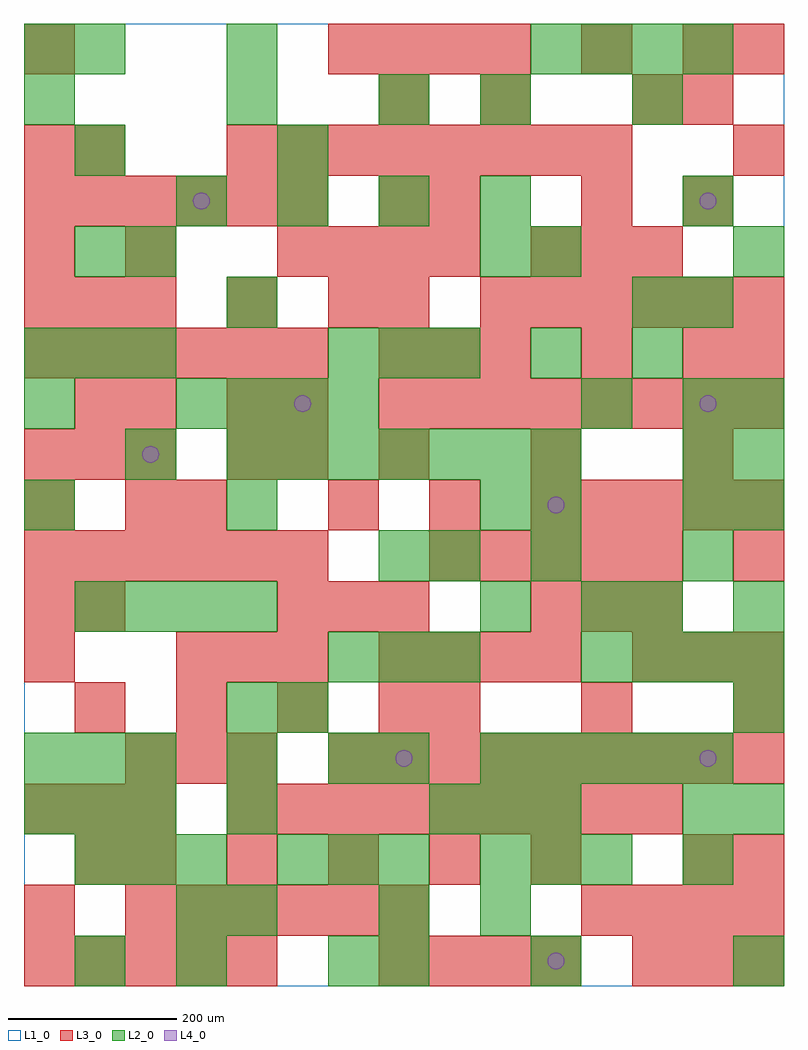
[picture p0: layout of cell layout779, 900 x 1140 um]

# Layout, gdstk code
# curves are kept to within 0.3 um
import gdstk
lib = gdstk.Library(unit=1e-6, precision=1e-09)
def R(c, l, rs):  # rectangles x0, y0, x1, y1
    for r in rs: c.add(gdstk.rectangle(r[:2], r[2:], *l))
def A(c, l, x, y, w, h, nx, ny, dx, dy):  # array of equal rectangles
    R(c, l, [(x+i*dx, y+j*dy, x+i*dx+w, y+j*dy+h) for i in range(nx) for j in range(ny)])
def P(c, l, *ps):  # polygons
    for p in ps: c.add(gdstk.Polygon(p, *l))
L1_0 = (1, 0)
L2_0 = (2, 0)
L3_0 = (3, 0)
L4_0 = (4, 0)

layout779 = lib.new_cell('layout779')
R(layout779, L1_0, [(0,0,900,1140)])
A(layout779, L2_0, 60, 120, 60, 60, 3, 1, 60, 0)
A(layout779, L2_0, 300, 120, 60, 60, 3, 1, 60, 0)
A(layout779, L2_0, 540, 120, 60, 60, 3, 1, 60, 0)
A(layout779, L2_0, 0, 180, 60, 60, 3, 2, 60, 60)
A(layout779, L2_0, 240, 180, 60, 60, 1, 3, 0, 60)
A(layout779, L2_0, 480, 180, 60, 60, 3, 1, 60, 0)
A(layout779, L2_0, 840, 180, 60, 60, 1, 4, 0, 120)
A(layout779, L2_0, 540, 240, 60, 60, 5, 1, 60, 0)
A(layout779, L2_0, 360, 360, 60, 60, 3, 2, 60, 360)
A(layout779, L2_0, 660, 360, 60, 60, 4, 1, 60, 0)
A(layout779, L2_0, 60, 420, 60, 60, 4, 1, 60, 0)
A(layout779, L2_0, 780, 480, 60, 60, 1, 4, 0, 60)
A(layout779, L2_0, 240, 540, 60, 60, 1, 3, 0, 240)
A(layout779, L2_0, 240, 600, 60, 60, 7, 1, 60, 0)
A(layout779, L2_0, 180, 660, 60, 60, 4, 1, 60, 0)
A(layout779, L2_0, 0, 720, 60, 60, 3, 1, 60, 0)
A(layout779, L2_0, 60, 840, 60, 60, 1, 3, 0, 120)
A(layout779, L2_0, 180, 900, 60, 60, 4, 1, 120, 0)
A(layout779, L2_0, 600, 1080, 60, 60, 4, 1, 60, 0)
R(layout779, L2_0, [(60,0,120,60), (180,0,240,60), (360,0,420,60), (420,0,480,60), (600,0,660,60), (840,0,900,60), (180,60,240,120), (240,60,300,120), (420,60,480,120), (540,60,600,120), (780,120,840,180), (780,180,840,240), (360,240,420,300), (420,240,480,300), (300,300,360,360), (540,420,600,480), (660,420,720,480), (720,420,780,480), (420,480,480,540), (480,480,540,540), (600,480,660,540), (0,540,60,600), (540,540,600,600), (600,540,660,600), (120,600,180,660), (840,600,900,660), (0,660,60,720), (660,660,720,720), (840,660,900,720), (600,720,660,780), (720,720,780,780), (720,780,780,840), (780,780,840,840), (120,840,180,900), (540,840,600,900), (600,840,660,900), (840,840,900,900), (780,900,840,960), (300,960,360,1020), (0,1020,60,1080), (420,1020,480,1080), (540,1020,600,1080), (720,1020,780,1080), (0,1080,60,1140), (240,1080,300,1140)])
A(layout779, L3_0, 0, 0, 60, 60, 5, 1, 60, 0)
A(layout779, L3_0, 420, 0, 60, 60, 4, 2, 60, 360)
A(layout779, L3_0, 720, 0, 60, 60, 3, 2, 60, 360)
A(layout779, L3_0, 120, 60, 60, 60, 6, 1, 60, 0)
A(layout779, L3_0, 660, 60, 60, 60, 4, 2, 60, 480)
A(layout779, L3_0, 120, 120, 60, 60, 5, 1, 120, 0)
A(layout779, L3_0, 0, 180, 60, 60, 3, 2, 60, 420)
A(layout779, L3_0, 240, 180, 60, 60, 9, 1, 60, 0)
A(layout779, L3_0, 120, 240, 60, 60, 3, 1, 60, 0)
A(layout779, L3_0, 360, 240, 60, 60, 9, 1, 60, 0)
A(layout779, L3_0, 60, 300, 60, 60, 4, 1, 120, 0)
A(layout779, L3_0, 480, 300, 60, 60, 3, 1, 180, 0)
A(layout779, L3_0, 180, 360, 60, 60, 3, 1, 60, 0)
A(layout779, L3_0, 300, 420, 60, 60, 3, 1, 60, 0)
A(layout779, L3_0, 600, 420, 60, 60, 3, 2, 60, 420)
A(layout779, L3_0, 0, 480, 60, 60, 6, 2, 60, 240)
A(layout779, L3_0, 480, 480, 60, 60, 5, 1, 60, 0)
A(layout779, L3_0, 840, 480, 60, 60, 1, 3, 0, 240)
A(layout779, L3_0, 360, 540, 60, 60, 3, 1, 120, 0)
A(layout779, L3_0, 420, 600, 60, 60, 3, 1, 180, 0)
A(layout779, L3_0, 420, 660, 60, 60, 8, 1, 60, 0)
A(layout779, L3_0, 420, 720, 60, 60, 3, 1, 60, 0)
A(layout779, L3_0, 660, 720, 60, 60, 1, 3, 0, 180)
A(layout779, L3_0, 0, 780, 60, 60, 3, 1, 60, 0)
A(layout779, L3_0, 420, 780, 60, 60, 1, 3, 0, 120)
A(layout779, L3_0, 540, 780, 60, 60, 6, 1, 60, 0)
A(layout779, L3_0, 0, 840, 60, 60, 1, 3, 0, 120)
A(layout779, L3_0, 300, 840, 60, 60, 4, 1, 60, 0)
A(layout779, L3_0, 0, 900, 60, 60, 6, 1, 60, 0)
A(layout779, L3_0, 240, 960, 60, 60, 8, 1, 60, 0)
A(layout779, L3_0, 360, 1080, 60, 60, 4, 1, 60, 0)
R(layout779, L3_0, [(0,60,60,120), (60,120,120,180), (780,120,840,180), (840,120,900,180), (0,360,60,420), (0,420,60,480), (60,420,120,480), (0,540,60,600), (120,540,180,600), (180,540,240,600), (240,600,300,660), (300,600,360,660), (60,660,120,720), (120,660,180,720), (240,660,300,720), (300,660,360,720), (780,720,840,780), (240,780,300,840), (360,780,420,840), (120,840,180,900), (480,900,540,960), (780,900,840,960), (60,960,120,1020), (540,1020,600,1080), (720,1020,780,1080), (780,1020,840,1080), (780,1080,840,1140), (840,1080,900,1140)])
P(layout779, L4_0, [(160,630),(159.239,633.827),(157.071,637.071),(153.827,639.239),(150,640),(146.173,639.239),(142.929,637.071),(140.761,633.827),(140,630),(140.761,626.173),(142.929,622.929),(146.173,620.761),(150,620),(153.827,620.761),(157.071,622.929),(159.239,626.173)],
  [(220,930),(219.239,933.827),(217.071,937.071),(213.827,939.239),(210,940),(206.173,939.239),(202.929,937.071),(200.761,933.827),(200,930),(200.761,926.173),(202.929,922.929),(206.173,920.761),(210,920),(213.827,920.761),(217.071,922.929),(219.239,926.173)],
  [(340,690),(339.239,693.827),(337.071,697.071),(333.827,699.239),(330,700),(326.173,699.239),(322.929,697.071),(320.761,693.827),(320,690),(320.761,686.173),(322.929,682.929),(326.173,680.761),(330,680),(333.827,680.761),(337.071,682.929),(339.239,686.173)],
  [(460,270),(459.239,273.827),(457.071,277.071),(453.827,279.239),(450,280),(446.173,279.239),(442.929,277.071),(440.761,273.827),(440,270),(440.761,266.173),(442.929,262.929),(446.173,260.761),(450,260),(453.827,260.761),(457.071,262.929),(459.239,266.173)],
  [(640,30),(639.239,33.827),(637.071,37.071),(633.827,39.239),(630,40),(626.173,39.239),(622.929,37.071),(620.761,33.827),(620,30),(620.761,26.173),(622.929,22.929),(626.173,20.761),(630,20),(633.827,20.761),(637.071,22.929),(639.239,26.173)],
  [(640,570),(639.239,573.827),(637.071,577.071),(633.827,579.239),(630,580),(626.173,579.239),(622.929,577.071),(620.761,573.827),(620,570),(620.761,566.173),(622.929,562.929),(626.173,560.761),(630,560),(633.827,560.761),(637.071,562.929),(639.239,566.173)],
  [(820,270),(819.239,273.827),(817.071,277.071),(813.827,279.239),(810,280),(806.173,279.239),(802.929,277.071),(800.761,273.827),(800,270),(800.761,266.173),(802.929,262.929),(806.173,260.761),(810,260),(813.827,260.761),(817.071,262.929),(819.239,266.173)],
  [(820,690),(819.239,693.827),(817.071,697.071),(813.827,699.239),(810,700),(806.173,699.239),(802.929,697.071),(800.761,693.827),(800,690),(800.761,686.173),(802.929,682.929),(806.173,680.761),(810,680),(813.827,680.761),(817.071,682.929),(819.239,686.173)],
  [(820,930),(819.239,933.827),(817.071,937.071),(813.827,939.239),(810,940),(806.173,939.239),(802.929,937.071),(800.761,933.827),(800,930),(800.761,926.173),(802.929,922.929),(806.173,920.761),(810,920),(813.827,920.761),(817.071,922.929),(819.239,926.173)])

lib.write_gds('layout779.gds')
